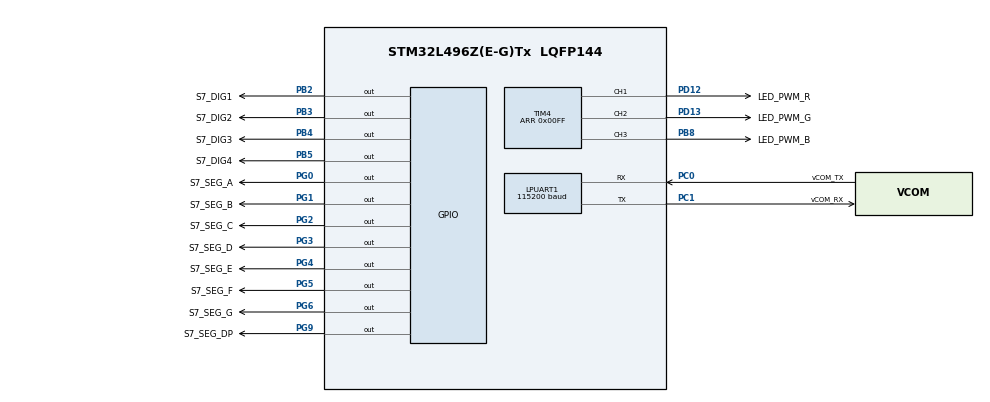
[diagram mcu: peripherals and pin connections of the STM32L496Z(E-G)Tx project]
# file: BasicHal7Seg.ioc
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LPUART1.BaudRate=115200
LPUART1.WordLength=UART_WORDLENGTH_8B
Mcu.Family=STM32L4
Mcu.Name=STM32L496Z(E-G)Tx
Mcu.Package=LQFP144
NVIC.LPUART1_IRQn=true\:0\:0\:false\:false\:true\:true\:true
NVIC.PriorityGroup=NVIC_PRIORITYGROUP_4
PB2.GPIO_Label=S7_DIG1
PB2.Signal=GPIO_Output
PB3\ (JTDO/TRACESWO).GPIO_Label=S7_DIG2
PB3\ (JTDO/TRACESWO).Signal=GPIO_Output
PB4\ (NJTRST).GPIO_Label=S7_DIG3
PB4\ (NJTRST).Signal=GPIO_Output
PB5.GPIO_Label=S7_DIG4
PB5.Signal=GPIO_Output
PB8.GPIO_Label=LED_PWM_B
PB8.Signal=S_TIM4_CH3
PC0.GPIO_Label=vCOM_TX
PC0.Mode=Asynchronous
PC0.Signal=LPUART1_RX
PC1.GPIO_Label=vCOM_RX
PC1.Mode=Asynchronous
PC1.Signal=LPUART1_TX
PD12.GPIO_Label=LED_PWM_R
PD12.Signal=S_TIM4_CH1
PD13.GPIO_Label=LED_PWM_G
PD13.Signal=S_TIM4_CH2
PG0.GPIO_Label=S7_SEG_A
PG0.Signal=GPIO_Output
PG1.GPIO_Label=S7_SEG_B
PG1.Signal=GPIO_Output
PG2.GPIO_Label=S7_SEG_C
PG2.Signal=GPIO_Output
PG3.GPIO_Label=S7_SEG_D
PG3.Signal=GPIO_Output
PG4.GPIO_Label=S7_SEG_E
PG4.Signal=GPIO_Output
PG5.GPIO_Label=S7_SEG_F
PG5.Signal=GPIO_Output
PG6.GPIO_Label=S7_SEG_G
PG6.Signal=GPIO_Output
PG9.GPIO_Label=S7_SEG_DP
PG9.Signal=GPIO_Output
ProjectManager.HeapSize=0x200
ProjectManager.StackSize=0x400
ProjectManager.TargetToolchain=STM32CubeIDE
RCC.HSE_VALUE=8000000
RCC.HSI48_VALUE=48000000
RCC.HSI_VALUE=16000000
RCC.LSE_VALUE=32768
RCC.MSI_VALUE=4000000
RCC.VCOOutputFreq_Value=32000000
SH.S_TIM4_CH1.0=TIM4_CH1,PWM Generation1 CH1
SH.S_TIM4_CH2.0=TIM4_CH2,PWM Generation2 CH2
SH.S_TIM4_CH3.0=TIM4_CH3,PWM Generation3 CH3
TIM4.Channel-PWM\ Generation1\ CH1=TIM_CHANNEL_1
TIM4.Channel-PWM\ Generation2\ CH2=TIM_CHANNEL_2
TIM4.Channel-PWM\ Generation3\ CH3=TIM_CHANNEL_3
TIM4.Period=0x00FF
VP_TIM4_VS_ClockSourceINT.Mode=Internal
board=custom

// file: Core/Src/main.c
/* USER CODE BEGIN Header */
/**
 ******************************************************************************
 * @file           : main.c
 * @brief          : Main program body
 ******************************************************************************
 * @attention
 *
 * <h2><center>&copy; Copyright (c) 2020 STMicroelectronics.
 * All rights reserved.</center></h2>
 *
 * This software component is licensed by ST under BSD 3-Clause license,
 * the "License"; You may not use this file except in compliance with the
 * License. You may obtain a copy of the License at:
 *                        opensource.org/licenses/BSD-3-Clause
 *
 ******************************************************************************
 */
/* USER CODE END Header */
#include "main.h"

/* USER CODE BEGIN Includes */
#include "stdio.h"
#include "string.h"
/* USER CODE END Includes */

/* USER CODE BEGIN PD */
#define S7_DIG_MSK 			S7_DIG1_Pin | S7_DIG2_Pin | S7_DIG3_Pin | S7_DIG4_Pin
#define S7_SEG_MSK			S7_SEG_A_Pin | S7_SEG_B_Pin | S7_SEG_C_Pin | S7_SEG_D_Pin | S7_SEG_E_Pin | S7_SEG_F_Pin | S7_SEG_G_Pin | S7_SEG_DP_Pin

/* USER CODE END PD */

UART_HandleTypeDef hlpuart1;

TIM_HandleTypeDef htim4;

/* USER CODE BEGIN PV */
const uint8_t codeSegments[] =
		{
		S7_SEG_A_Pin | S7_SEG_B_Pin | S7_SEG_C_Pin | S7_SEG_D_Pin | S7_SEG_E_Pin
				| S7_SEG_F_Pin, // 0
				S7_SEG_B_Pin | S7_SEG_C_Pin,							// 1
				S7_SEG_A_Pin | S7_SEG_B_Pin | S7_SEG_G_Pin | S7_SEG_E_Pin
						| S7_SEG_D_Pin,				 // 2
				S7_SEG_A_Pin | S7_SEG_B_Pin | S7_SEG_G_Pin | S7_SEG_C_Pin
						| S7_SEG_D_Pin, // 3
				S7_SEG_F_Pin | S7_SEG_G_Pin | S7_SEG_B_Pin | S7_SEG_C_Pin, // 4
				S7_SEG_A_Pin | S7_SEG_F_Pin | S7_SEG_G_Pin | S7_SEG_C_Pin
						| S7_SEG_D_Pin, // 5
				S7_SEG_A_Pin | S7_SEG_F_Pin | S7_SEG_E_Pin | S7_SEG_D_Pin
						| S7_SEG_C_Pin | S7_SEG_G_Pin, // 6
				S7_SEG_A_Pin | S7_SEG_B_Pin | S7_SEG_C_Pin, // 7
				S7_SEG_A_Pin | S7_SEG_B_Pin | S7_SEG_C_Pin | S7_SEG_D_Pin
						| S7_SEG_E_Pin | S7_SEG_F_Pin | S7_SEG_G_Pin, // 8
				S7_SEG_A_Pin | S7_SEG_B_Pin | S7_SEG_C_Pin | S7_SEG_D_Pin
						| S7_SEG_F_Pin | S7_SEG_G_Pin // 9
		// TODO: implementacja znakow ASCII
		};

const uint8_t digitModule[] = { S7_DIG4_Pin, S7_DIG3_Pin, S7_DIG2_Pin,
S7_DIG1_Pin };

uint16_t display[4];

char buffer[32];

/* USER CODE END PV */

void SystemClock_Config(void);
static void MX_GPIO_Init(void);
static void MX_TIM4_Init(void);
static void MX_LPUART1_UART_Init(void);

/* USER CODE BEGIN 0 */
uint32_t S7_Display(int16_t value) {
	if (value >= 0 && value < 10000) {
		display[0] = codeSegments[value % 10];
		value /= 10;
		display[1] = value ? codeSegments[value % 10] : 0;
		value /= 10;
		display[2] = value ? codeSegments[value % 10] : 0;
		value /= 10;
		display[3] = value ? codeSegments[value % 10] : 0;
		return 0;
	} else if (value < 0 && value > -1000) {
		// TODO: Implementacja dla liczb ujemnych - zadanie dodatkowe 2
		return 0;
	} else {
		return 1;
	}
}
// float pi = 3.14, example: S7_DisplayFractional((uint16_t)(pi * 100), 2);
uint32_t S7_DisplayFractional(uint16_t value, uint8_t fractionalDigit) {
	if (fractionalDigit < 4 && value < 10000) {
		// TODO: Implementacja liczb rzeczywistych - zadanie dodatkowe 3
		return 0;
	} else {
		return 1;
	}
}

void S7_Multiplex(void) {
	static uint8_t dig = 0;

	HAL_GPIO_WritePin(GPIOB, S7_DIG_MSK, GPIO_PIN_RESET);
	HAL_GPIO_WritePin(GPIOG, S7_SEG_MSK, GPIO_PIN_RESET);
	HAL_GPIO_WritePin(GPIOG, display[dig], GPIO_PIN_SET);
	HAL_GPIO_WritePin(GPIOB, digitModule[dig++], GPIO_PIN_SET);
	dig %= 4;
}

void HAL_SYSTICK_Callback(void) {
	static uint8_t delay = 0;
	if ((delay++ % 5) == 0) {
		S7_Multiplex();
	}
}

void LED_RGB_SetIntensity(uint16_t r, uint16_t g, uint16_t b) {
	__HAL_TIM_SET_COMPARE(&htim4, TIM_CHANNEL_1, b);
	__HAL_TIM_SET_COMPARE(&htim4, TIM_CHANNEL_2, r);
	__HAL_TIM_SET_COMPARE(&htim4, TIM_CHANNEL_3, g);
}

int __io_putchar(int ch) {
//	HAL_UART_Transmit(&hlpuart1, (uint8_t* )&ch, 1, 100);

//	UART_Wai
	while ((LPUART1->ISR & USART_ISR_TXE) != USART_ISR_TXE)
		;

	LPUART1->TDR = (uint8_t) ch;

	return ch;
}

int __io_getchar(void) {

	while ((LPUART1->ISR & USART_ISR_RXNE) != USART_ISR_RXNE)
		;

	return (LPUART1->RDR & USART_RDR_RDR) & 0xFF;
}

void HAL_UART_RxCpltCallback(UART_HandleTypeDef *huart){

}

/* USER CODE END 0 */

int main(void) {

	/* MCU Configuration--------------------------------------------------------*/

	/* Reset of all peripherals, Initializes the Flash interface and the Systick. */
	HAL_Init();

	/* Configure the system clock */
	SystemClock_Config();

	/* Initialize all configured peripherals */
	MX_GPIO_Init();
	MX_TIM4_Init();
	MX_LPUART1_UART_Init();
	/* USER CODE BEGIN 2 */

	HAL_TIM_Base_Start(&htim4);
	HAL_TIM_PWM_Start(&htim4, TIM_CHANNEL_1);
	HAL_TIM_PWM_Start(&htim4, TIM_CHANNEL_2);
	HAL_TIM_PWM_Start(&htim4, TIM_CHANNEL_3);
	/* USER CODE END 2 */

	/* Infinite loop */
	/* USER CODE BEGIN WHILE */
	uint16_t r = 0, g = 0, b = 0;
		HAL_UART_Receive_IT(&hlpuart1, (uint8_t *)buffer, 4);
	while (1) {
		r = rand() & 0xFF;
		g = rand() & 0xFF;
		b = rand() & 0xFF;
//		while(__io_getchar() != '1');

		LED_RGB_SetIntensity(r, g, b);
		/* USER CODE END WHILE */

		/* USER CODE BEGIN 3 */
//		sprintf(buffer, "R = %3d; G = %3d; B = %3d\n", r, g, b);
		printf("R = %3d; G = %3d; B = %3d\n", r, g, b);
		HAL_Delay(100);
//		HAL_UART_Transmit(&hlpuart1, (uint8_t *)buffer, strlen(buffer), 100);
	}
	/* USER CODE END 3 */
}

void SystemClock_Config(void) {
	RCC_OscInitTypeDef RCC_OscInitStruct = { 0 };
	RCC_ClkInitTypeDef RCC_ClkInitStruct = { 0 };
	RCC_PeriphCLKInitTypeDef PeriphClkInit = { 0 };

	/** Initializes the RCC Oscillators according to the specified parameters
	 * in the RCC_OscInitTypeDef structure.
	 */
	RCC_OscInitStruct.OscillatorType = RCC_OSCILLATORTYPE_MSI;
	RCC_OscInitStruct.MSIState = RCC_MSI_ON;
	RCC_OscInitStruct.MSICalibrationValue = 0;
	RCC_OscInitStruct.MSIClockRange = RCC_MSIRANGE_6;
	RCC_OscInitStruct.PLL.PLLState = RCC_PLL_NONE;
	if (HAL_RCC_OscConfig(&RCC_OscInitStruct) != HAL_OK) {
		Error_Handler();
	}
	/** Initializes the CPU, AHB and APB buses clocks
	 */
	RCC_ClkInitStruct.ClockType = RCC_CLOCKTYPE_HCLK | RCC_CLOCKTYPE_SYSCLK
			| RCC_CLOCKTYPE_PCLK1 | RCC_CLOCKTYPE_PCLK2;
	RCC_ClkInitStruct.SYSCLKSource = RCC_SYSCLKSOURCE_MSI;
	RCC_ClkInitStruct.AHBCLKDivider = RCC_SYSCLK_DIV1;
	RCC_ClkInitStruct.APB1CLKDivider = RCC_HCLK_DIV1;
	RCC_ClkInitStruct.APB2CLKDivider = RCC_HCLK_DIV1;

	if (HAL_RCC_ClockConfig(&RCC_ClkInitStruct, FLASH_LATENCY_0) != HAL_OK) {
		Error_Handler();
	}
	PeriphClkInit.PeriphClockSelection = RCC_PERIPHCLK_LPUART1;
	PeriphClkInit.Lpuart1ClockSelection = RCC_LPUART1CLKSOURCE_PCLK1;
	if (HAL_RCCEx_PeriphCLKConfig(&PeriphClkInit) != HAL_OK) {
		Error_Handler();
	}
	/** Configure the main internal regulator output voltage
	 */
	if (HAL_PWREx_ControlVoltageScaling(PWR_REGULATOR_VOLTAGE_SCALE1)
			!= HAL_OK) {
		Error_Handler();
	}
}

static void MX_LPUART1_UART_Init(void) {

	hlpuart1.Instance = LPUART1;
	hlpuart1.Init.BaudRate = 115200;
	hlpuart1.Init.WordLength = UART_WORDLENGTH_8B;
	hlpuart1.Init.StopBits = UART_STOPBITS_1;
	hlpuart1.Init.Parity = UART_PARITY_NONE;
	hlpuart1.Init.Mode = UART_MODE_TX_RX;
	hlpuart1.Init.HwFlowCtl = UART_HWCONTROL_NONE;
	hlpuart1.Init.OneBitSampling = UART_ONE_BIT_SAMPLE_DISABLE;
	hlpuart1.AdvancedInit.AdvFeatureInit = UART_ADVFEATURE_NO_INIT;
	if (HAL_UART_Init(&hlpuart1) != HAL_OK) {
		Error_Handler();
	}

}

static void MX_TIM4_Init(void) {

	TIM_ClockConfigTypeDef sClockSourceConfig = { 0 };
	TIM_MasterConfigTypeDef sMasterConfig = { 0 };
	TIM_OC_InitTypeDef sConfigOC = { 0 };

	htim4.Instance = TIM4;
	htim4.Init.Prescaler = 0;
	htim4.Init.CounterMode = TIM_COUNTERMODE_UP;
	htim4.Init.Period = 0x00FF;
	htim4.Init.ClockDivision = TIM_CLOCKDIVISION_DIV1;
	htim4.Init.AutoReloadPreload = TIM_AUTORELOAD_PRELOAD_DISABLE;
	if (HAL_TIM_Base_Init(&htim4) != HAL_OK) {
		Error_Handler();
	}
	sClockSourceConfig.ClockSource = TIM_CLOCKSOURCE_INTERNAL;
	if (HAL_TIM_ConfigClockSource(&htim4, &sClockSourceConfig) != HAL_OK) {
		Error_Handler();
	}
	if (HAL_TIM_PWM_Init(&htim4) != HAL_OK) {
		Error_Handler();
	}
	sMasterConfig.MasterOutputTrigger = TIM_TRGO_RESET;
	sMasterConfig.MasterSlaveMode = TIM_MASTERSLAVEMODE_DISABLE;
	if (HAL_TIMEx_MasterConfigSynchronization(&htim4, &sMasterConfig)
			!= HAL_OK) {
		Error_Handler();
	}
	sConfigOC.OCMode = TIM_OCMODE_PWM1;
	sConfigOC.Pulse = 0;
	sConfigOC.OCPolarity = TIM_OCPOLARITY_HIGH;
	sConfigOC.OCFastMode = TIM_OCFAST_DISABLE;
	if (HAL_TIM_PWM_ConfigChannel(&htim4, &sConfigOC, TIM_CHANNEL_1)
			!= HAL_OK) {
		Error_Handler();
	}
	if (HAL_TIM_PWM_ConfigChannel(&htim4, &sConfigOC, TIM_CHANNEL_2)
			!= HAL_OK) {
		Error_Handler();
	}
	if (HAL_TIM_PWM_ConfigChannel(&htim4, &sConfigOC, TIM_CHANNEL_3)
			!= HAL_OK) {
		Error_Handler();
	}
	HAL_TIM_MspPostInit(&htim4);

}

static void MX_GPIO_Init(void) {
	GPIO_InitTypeDef GPIO_InitStruct = { 0 };

	/* GPIO Ports Clock Enable */
	__HAL_RCC_GPIOC_CLK_ENABLE();
	__HAL_RCC_GPIOB_CLK_ENABLE();
	__HAL_RCC_GPIOG_CLK_ENABLE();
	__HAL_RCC_GPIOD_CLK_ENABLE();
	HAL_PWREx_EnableVddIO2();

	/*Configure GPIO pin Output Level */
	HAL_GPIO_WritePin(GPIOB,
	S7_DIG1_Pin | S7_DIG2_Pin | S7_DIG3_Pin | S7_DIG4_Pin, GPIO_PIN_RESET);

	/*Configure GPIO pin Output Level */
	HAL_GPIO_WritePin(GPIOG,
			S7_SEG_A_Pin | S7_SEG_B_Pin | S7_SEG_C_Pin | S7_SEG_D_Pin
					| S7_SEG_E_Pin | S7_SEG_F_Pin | S7_SEG_G_Pin | S7_SEG_DP_Pin,
			GPIO_PIN_RESET);

	/*Configure GPIO pins : S7_DIG1_Pin S7_DIG2_Pin S7_DIG3_Pin S7_DIG4_Pin */
	GPIO_InitStruct.Pin = S7_DIG1_Pin | S7_DIG2_Pin | S7_DIG3_Pin | S7_DIG4_Pin;
	GPIO_InitStruct.Mode = GPIO_MODE_OUTPUT_PP;
	GPIO_InitStruct.Pull = GPIO_NOPULL;
	GPIO_InitStruct.Speed = GPIO_SPEED_FREQ_LOW;
	HAL_GPIO_Init(GPIOB, &GPIO_InitStruct);

	/*Configure GPIO pins : S7_SEG_A_Pin S7_SEG_B_Pin S7_SEG_C_Pin S7_SEG_D_Pin
	 S7_SEG_E_Pin S7_SEG_F_Pin S7_SEG_G_Pin S7_SEG_DP_Pin */
	GPIO_InitStruct.Pin = S7_SEG_A_Pin | S7_SEG_B_Pin | S7_SEG_C_Pin
			| S7_SEG_D_Pin | S7_SEG_E_Pin | S7_SEG_F_Pin | S7_SEG_G_Pin
			| S7_SEG_DP_Pin;
	GPIO_InitStruct.Mode = GPIO_MODE_OUTPUT_PP;
	GPIO_InitStruct.Pull = GPIO_NOPULL;
	GPIO_InitStruct.Speed = GPIO_SPEED_FREQ_LOW;
	HAL_GPIO_Init(GPIOG, &GPIO_InitStruct);

}

void Error_Handler(void) {
	__disable_irq();
	while (1) {
	}
}

/************************ (C) COPYRIGHT STMicroelectronics *****END OF FILE****/
